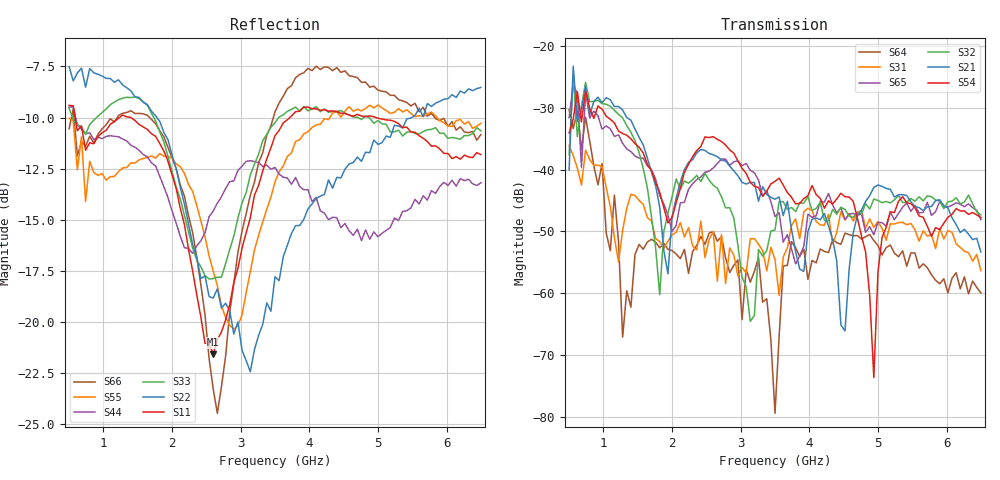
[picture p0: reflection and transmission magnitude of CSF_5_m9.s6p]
!Keysight Technologies,M9804A,MY58100912,A.14.10.03
!Date: Thursday, April 27, 2023 10:28:33
!Correction: S11(C  6-Port  )
!S12(C  6-Port  )
!S13(C  6-Port  )
!S14(C  6-Port  )
!S15(C  6-Port  )
!S16(C  6-Port  )
!S21(C  6-Port  )
!S22(C  6-Port  )
!S23(C  6-Port  )
!S24(C  6-Port  )
!S25(C  6-Port  )
!S26(C  6-Port  )
!S31(C  6-Port  )
!S32(C  6-Port  )
!S33(C  6-Port  )
!S34(C  6-Port  )
!S35(C  6-Port  )
!S36(C  6-Port  )
!S41(C  6-Port  )
!S42(C  6-Port  )
!S43(C  6-Port  )
!S44(C  6-Port  )
!S45(C  6-Port  )
!S46(C  6-Port  )
!S51(C  6-Port  )
!S52(C  6-Port  )
!S53(C  6-Port  )
!S54(C  6-Port  )
!S55(C  6-Port  )
!S56(C  6-Port  )
!S61(C  6-Port  )
!S62(C  6-Port  )
!S63(C  6-Port  )
!S64(C  6-Port  )
!S65(C  6-Port  )
!S66(C  6-Port  )
!S6P File: Measurement: :
# Hz S  RI  R 50
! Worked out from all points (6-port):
!   101 points, 500 MHz to 6.5 GHz, reference 50 ohm
!   strongest paths, dB at 500 MHz, 2 GHz, 3.5 GHz, 5 GHz, 6.5 GHz:
!     S54: -34.1, -47.8, -41.9, -56.6, -47.8
!     S21: -40.1, -47.7, -44.8, -42.5, -53.3
!     S32: -37.6, -44.4, -49.8, -45.0, -47.3
!     S65: -31.6, -50.0, -47.6, -48.5, -48.1
!     S31: -36.1, -50.6, -54.6, -48.4, -56.3
!     S64: -30.3, -53.1, -79.4, -52.3, -59.9
!   lowest |S11| = -21.6 dB at 2.6 GHz (marker M1), VSWR 1.18, Z = 42.6 + j2.06 ohm
!   |S11| at or under -10 dB: 588.2 MHz to 1.233 GHz (645.2 MHz wide, 70.8 % of centre); 1.402 GHz to 3.715 GHz (2.313 GHz wide, 90.4 % of centre); 4.974 GHz to end of sweep
